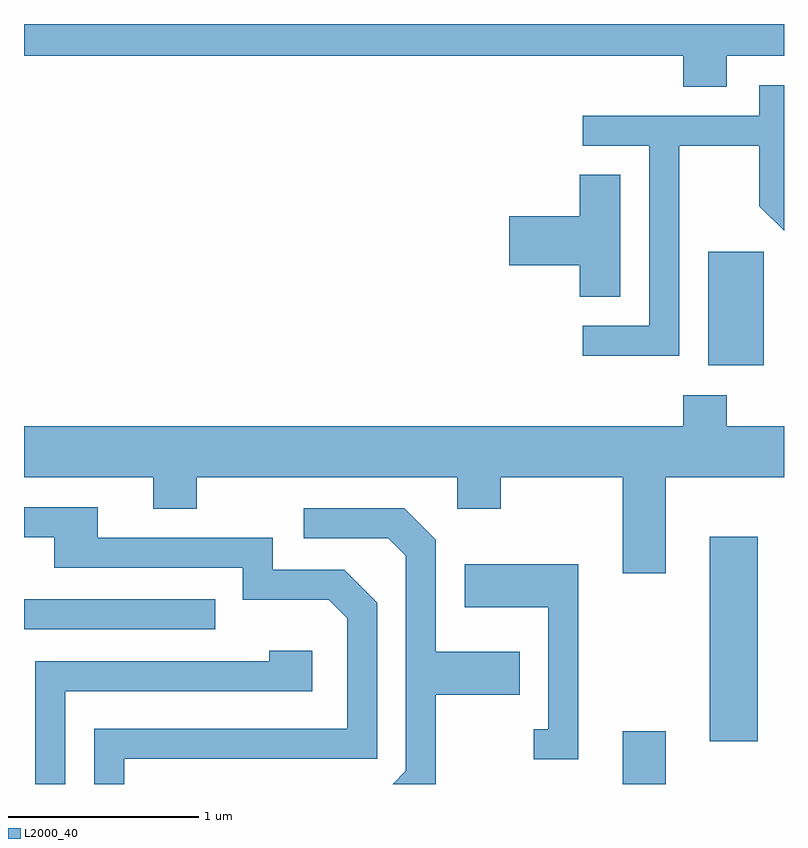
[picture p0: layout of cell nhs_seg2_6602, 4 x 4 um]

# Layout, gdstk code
import gdstk
lib = gdstk.Library(unit=1e-6, precision=1e-09)
def R(c, l, rs):  # rectangles x0, y0, x1, y1
    for r in rs: c.add(gdstk.rectangle(r[:2], r[2:], *l))
def P(c, l, *ps):  # polygons
    for p in ps: c.add(gdstk.Polygon(p, *l))
L2000_40 = (2000, 40)

nhs_seg2_6602 = lib.new_cell('nhs_seg2_6602')
R(nhs_seg2_6602, L2000_40, [(382.761,1057.802,382.989,1058.079), (383.221,1058.026,383.474,1059.104), (379.611,1058.616,380.618,1058.774), (383.211,1060.006,383.504,1060.604)])
P(nhs_seg2_6602, L2000_40, [(383.309,1061.636),(383.611,1061.636),(383.611,1061.802),(379.611,1061.802),(379.611,1061.636),(383.081,1061.636),(383.081,1061.471),(383.309,1061.471)],
  [(383.059,1061.161),(383.481,1061.161),(383.481,1060.844),(383.611,1060.714),(383.611,1061.479),(383.481,1061.479),(383.481,1061.319),(382.553,1061.319),(382.553,1061.161),(382.901,1061.161),(382.901,1060.214),(382.553,1060.214),(382.553,1060.056),(383.059,1060.056)],
  [(382.749,1061.009),(382.536,1061.009),(382.536,1060.789),(382.166,1060.789),(382.166,1060.531),(382.536,1060.531),(382.536,1060.366),(382.749,1060.366)],
  [(382.989,1059.416),(383.611,1059.416),(383.611,1059.684),(383.309,1059.684),(383.309,1059.849),(383.081,1059.849),(383.081,1059.684),(379.611,1059.684),(379.611,1059.416),(380.291,1059.416),(380.291,1059.251),(380.519,1059.251),(380.519,1059.416),(381.891,1059.416),(381.891,1059.251),(382.119,1059.251),(382.119,1059.416),(382.761,1059.416),(382.761,1058.911),(382.989,1058.911)],
  [(380.139,1057.936),(381.469,1057.936),(381.469,1058.757),(381.297,1058.929),(380.919,1058.929),(380.919,1059.099),(379.999,1059.099),(379.999,1059.259),(379.611,1059.259),(379.611,1059.101),(379.771,1059.101),(379.771,1058.941),(380.761,1058.941),(380.761,1058.771),(381.214,1058.771),(381.311,1058.674),(381.311,1058.094),(379.981,1058.094),(379.981,1057.802),(380.139,1057.802)],
  [(381.779,1057.804),(381.779,1058.271),(382.219,1058.271),(382.219,1058.499),(381.779,1058.499),(381.779,1059.087),(381.612,1059.254),(381.083,1059.254),(381.083,1059.096),(381.529,1059.096),(381.621,1059.004),(381.621,1057.872),(381.552,1057.802),(381.777,1057.802)],
  [(382.529,1058.959),(381.931,1058.959),(381.931,1058.731),(382.371,1058.731),(382.371,1058.089),(382.293,1058.089),(382.293,1057.931),(382.529,1057.931)],
  [(379.829,1058.291),(381.129,1058.291),(381.129,1058.504),(380.901,1058.504),(380.901,1058.449),(379.671,1058.449),(379.671,1057.802),(379.829,1057.802)])

lib.write_gds('nhs_seg2_6602.gds')
